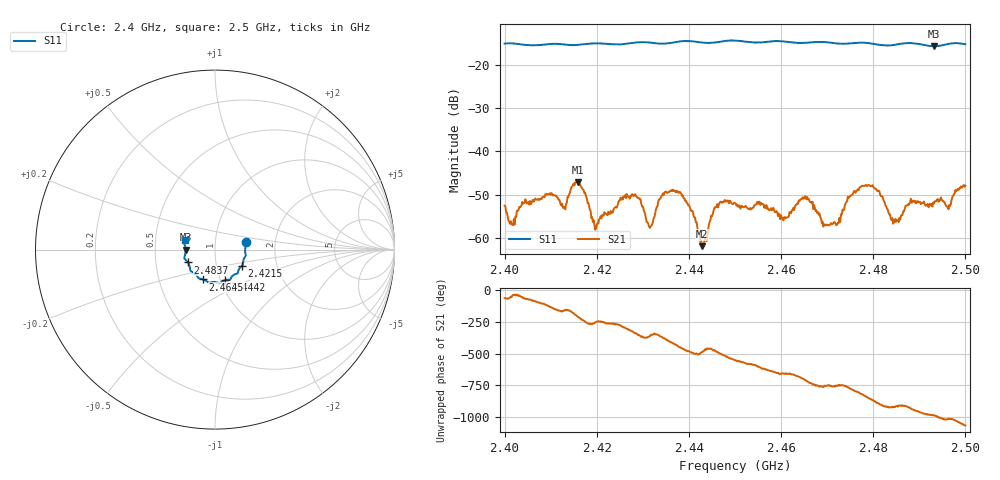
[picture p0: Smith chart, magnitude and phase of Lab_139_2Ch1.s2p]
# Hz S RI R 50
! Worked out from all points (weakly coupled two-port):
!   601 points, 2.4 GHz to 2.5 GHz, reference 50 ohm
!   highest |S21| = -47.05 dB at 2.4158 GHz (marker M1); lowest = -61.9 dB at 2.4428 GHz (marker M2)
!   lowest |S11| = -15.7 dB at 2.4932 GHz (marker M3), VSWR 1.39, Z = 35.9 - j0.0542 ohm
!   |S11| at or under -10 dB: start of sweep to end of sweep
!   S12 and S22 are empty: the file has one direction only
!   S11 on the Smith chart (normalised r, x): 2.4 GHz: 1.41, +0.12; 2.4215 GHz: 1.33, -0.25; 2.4442 GHz: 1.05, -0.37; 2.4645 GHz: 0.83, -0.29; 2.4837 GHz: 0.73, -0.11; 2.5 GHz: 0.71, +0.07
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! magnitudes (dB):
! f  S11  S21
! 2.4 GHz  -15.1  -52.5
! 2.4128 GHz  -15.3  -53.1
! 2.4158 GHz  -15.4  -47.1
! 2.4167 GHz  -15.3  -48.3
! 2.4193 GHz  -15.1  -55.9
! 2.4215 GHz  -15.1  -54.8
! 2.4282 GHz  -14.9  -50.1
! 2.4317 GHz  -14.9  -57.4
! 2.4333 GHz  -15.1  -51.6
! 2.4382 GHz  -14.6  -49.5
! 2.4428 GHz  -14.9  -61.9
! 2.4442 GHz  -15.0  -58.1
! 2.45 GHz  -14.4  -52.0
! 2.4607 GHz  -14.6  -55.2
! 2.4645 GHz  -15.0  -51.0
! 2.4667 GHz  -14.8  -52.0
! 2.472 GHz  -15.1  -57.0
! 2.4793 GHz  -15.1  -48.0
! 2.4833 GHz  -15.6  -54.2
! 2.4837 GHz  -15.5  -54.6
! 2.4932 GHz  -15.7  -52.0
! 2.5 GHz  -15.3  -47.9
